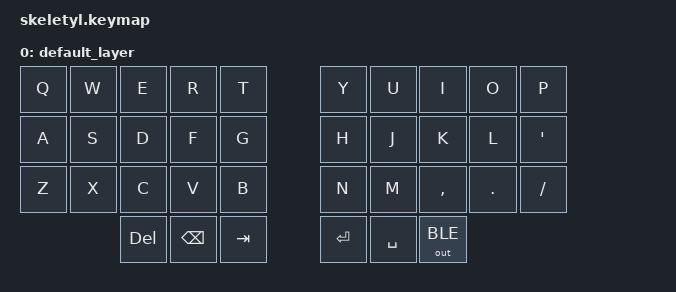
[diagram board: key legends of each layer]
#include <behaviors.dtsi>
#include <dt-bindings/zmk/keys.h>
#include <dt-bindings/zmk/bt.h>
#include <dt-bindings/zmk/outputs.h>

// Modified keymap based on personal experience, with some improvements based on Miryoku layout.

/ {
    keymap {
        compatible = "zmk,keymap";

        default_layer {
            bindings = <
    &kp Q       &kp W       &kp E       &kp R           &kp T           &kp Y       &kp U       &kp I       &kp O           &kp P
    &kp A 		&kp S  		&kp D 		&kp F     		&kp G           &kp H       &kp J 		&kp K 		&kp L      		&kp SQT
    &kp Z       &kp X  		&kp C       &kp V           &kp B           &kp N       &kp M       &kp COMMA   &kp DOT    		&kp FSLH
                            &kp DEL     &kp BSPC   		&kp TAB     	&kp RET    	&kp SPACE 	&out OUT_BLE
            >;
        };
    };
};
